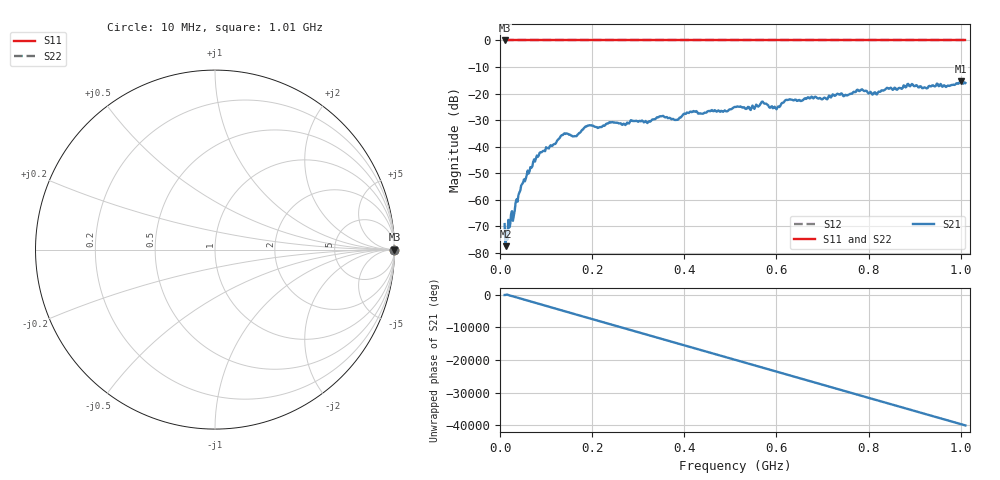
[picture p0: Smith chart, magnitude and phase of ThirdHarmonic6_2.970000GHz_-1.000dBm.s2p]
! 8/17/2025 8:24:27 AM
! C:\ANRITSUVNA\TEMP\TEMP.S2P
! CHANNEL.1
! TR.MEASUREMENT
! RAW.DATA
! RF.CORRECTION.OFF
! AVERAGING.OFF
! IF.BANDWIDTH: 5KHZ
! SWEEPTYPE:  FREQ.SWEEP(Linear)
! Reference Plane Port Info
! PORT:  PORT1  PORT2
! DISTANCE:  0  m  0  m
! TIME:  0  s  0  s
! PHASE.OFFSET:  0  deg.  0  deg.
! LOSS:  0  dB  0  dB
! REF.LOSS:  0  dB  0  dB
! REF.FREQ:  0  Hz  0  Hz
! Power Info
! POWER:  -20  dBm  -20  dBm
! EFF.POWER:  -20  dBm  -20  dBm
! SOURCE.ATTEN:  0  dB  0  dB
! TEST.ATTEN:  0  dB  0  dB
# GHZ S RI R 50.0
! FREQ.GHZ  S11RE  S11IM  S21RE  S21IM  S12RE  S12IM  S22RE  S22IM
!; PortSelection: Port_12
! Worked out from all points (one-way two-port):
!   501 points, 10 MHz to 1.01 GHz, reference 50 ohm
!   highest |S21| = -15.30 dB at 1 GHz (marker M1); lowest = -77.4 dB at 12 MHz (marker M2)
!   lowest |S11| = 0.0 dB at 10 MHz (marker M3)
!   |S11| at or under -10 dB: nowhere
!   |S22| runs from 0.0 to 0.0 dB; largest |S21 - S12| = 1.2
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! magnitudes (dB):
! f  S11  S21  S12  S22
! 10 MHz  0.0  -69.1  0.0  0.0
! 12 MHz  0.0  -77.4  0.0  0.0
! 16 MHz  0.0  -75.1  0.0  0.0
! 22 MHz  0.0  -69.5  0.0  0.0
! 48 MHz  0.0  -54.1  0.0  0.0
! 76 MHz  0.0  -45.6  0.0  0.0
! 136 MHz  0.0  -35.6  0.0  0.0
! 162 MHz  0.0  -36.0  0.0  0.0
! 178 MHz  0.0  -33.7  0.0  0.0
! 344 MHz  0.0  -28.9  0.0  0.0
! 382 MHz  0.0  -29.9  0.0  0.0
! 416 MHz  0.0  -27.0  0.0  0.0
! 510 MHz  0.0  -25.0  0.0  0.0
! 570 MHz  0.0  -23.0  0.0  0.0
! 596 MHz  0.0  -24.9  0.0  0.0
! 624 MHz  0.0  -22.4  0.0  0.0
! 678 MHz  0.0  -21.4  0.0  0.0
! 784 MHz  0.0  -18.5  0.0  0.0
! 814 MHz  0.0  -19.5  0.0  0.0
! 844 MHz  0.0  -18.2  0.0  0.0
! 1 GHz  0.0  -15.3  0.0  0.0
! 1.01 GHz  0.0  -16.0  0.0  0.0
